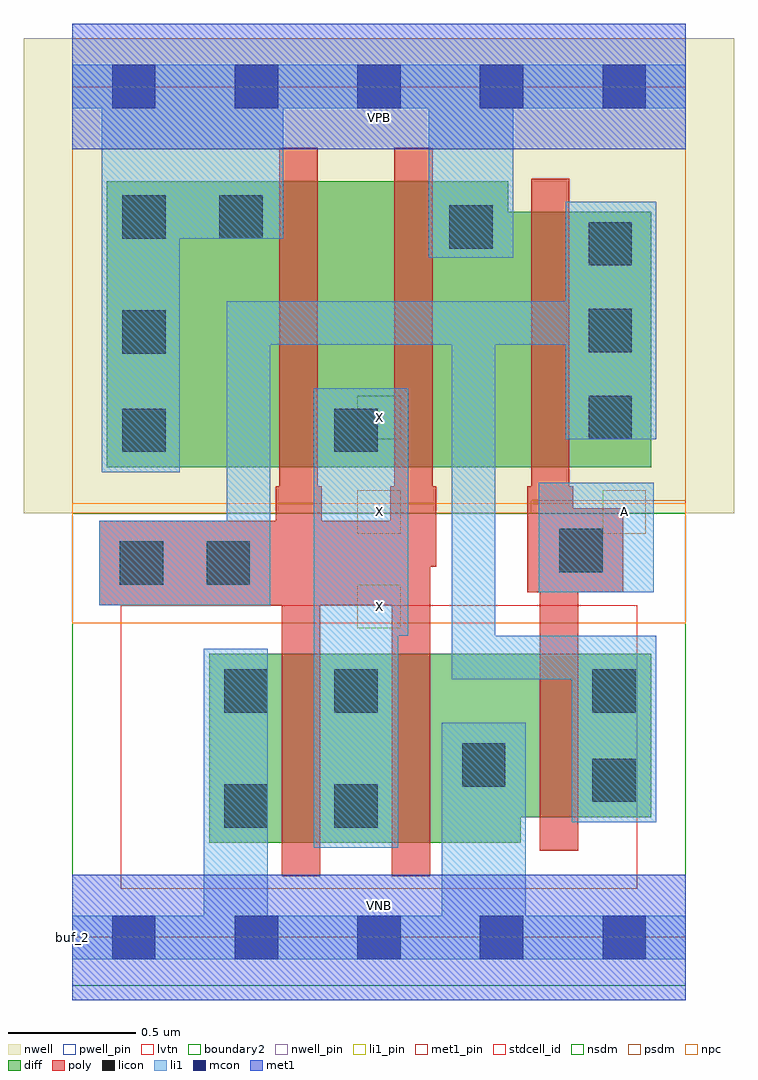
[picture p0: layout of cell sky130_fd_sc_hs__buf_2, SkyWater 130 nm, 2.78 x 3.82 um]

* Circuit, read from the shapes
.subckt sky130_fd_sc_hs__buf_2 A VGND VNB VPB VPWR X
XM1 X n1 VGND VNB sky130_fd_pr__nfet_01v8_lvt w=0.74 l=0.15 m=2
XM2 n1 A VGND VNB sky130_fd_pr__nfet_01v8_lvt w=0.64 l=0.15
XM3 X n1 VPWR VPB sky130_fd_pr__pfet_01v8 w=1.12 l=0.15 m=2
XM4 n1 A VPWR VPB sky130_fd_pr__pfet_01v8 w=1 l=0.15
.ends

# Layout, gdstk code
import gdstk
lib = gdstk.Library(unit=1e-6, precision=1e-09)
def R(c, l, rs):  # rectangles x0, y0, x1, y1
    for r in rs: c.add(gdstk.rectangle(r[:2], r[2:], *l))
def A(c, l, x, y, w, h, nx, ny, dx, dy):  # array of equal rectangles
    R(c, l, [(x+i*dx, y+j*dy, x+i*dx+w, y+j*dy+h) for i in range(nx) for j in range(ny)])
def P(c, l, *ps):  # polygons
    for p in ps: c.add(gdstk.Polygon(p, *l))
nwell_pin = (64, 16)
nwell = (64, 20)
diff = (65, 20)
poly = (66, 20)
licon = (66, 44)
li1_pin = (67, 16)
li1 = (67, 20)
mcon = (67, 44)
met1_pin = (68, 16)
met1 = (68, 20)
stdcell_id = (81, 4)
nsdm = (93, 44)
psdm = (94, 20)
npc = (95, 20)
pwell_pin = (122, 16)
lvtn = (125, 44)
boundary2 = (236, 0)

sky130_fd_sc_hs__buf_2 = lib.new_cell('sky130_fd_sc_hs__buf_2')
R(sky130_fd_sc_hs__buf_2, nwell_pin, [(0,3.085,2.4,3.33)])
R(sky130_fd_sc_hs__buf_2, nwell, [(-0.19,1.66,2.59,3.52)])
P(sky130_fd_sc_hs__buf_2, diff, [(2.265,2.84),(1.705,2.84),(1.705,2.96),(0.135,2.96),(0.135,1.84),(2.265,1.84)],
  [(2.265,1.11),(0.535,1.11),(0.535,0.37),(1.755,0.37),(1.755,0.47),(2.265,0.47)])
P(sky130_fd_sc_hs__buf_2, poly, [(1.425,1.765),(1.41,1.765),(1.41,3.09),(1.26,3.09),(1.26,1.765),(1.245,1.765),(1.245,1.63),(0.975,1.63),(0.975,1.765),(0.96,1.765),(0.96,3.09),(0.81,3.09),(0.81,1.765),(0.795,1.765),(0.795,1.63),(0.105,1.63),(0.105,1.3),(0.82,1.3),(0.82,0.24),(0.97,0.24),(0.97,1.3),(1.25,1.3),(1.25,0.24),(1.4,0.24),(1.4,1.45),(1.425,1.45)],
  [(2.155,1.68),(1.96,1.68),(1.96,1.765),(1.945,1.765),(1.945,2.97),(1.795,2.97),(1.795,1.765),(1.78,1.765),(1.78,1.35),(1.83,1.35),(1.83,0.34),(1.98,0.34),(1.98,1.35),(2.155,1.35)])
A(sky130_fd_sc_hs__buf_2, licon, 2.02, 1.95, 0.17, 0.17, 1, 3, 0, 0.34)
R(sky130_fd_sc_hs__buf_2, licon, [(0.595,0.43,0.765,0.6), (1.025,0.43,1.195,0.6), (2.035,0.53,2.205,0.7), (1.525,0.59,1.695,0.76), (0.595,0.88,0.765,1.05), (1.025,0.88,1.195,1.05), (2.035,0.88,2.205,1.05), (0.185,1.38,0.355,1.55), (0.525,1.38,0.695,1.55), (1.905,1.43,2.075,1.6), (0.195,1.9,0.365,2.07), (1.025,1.9,1.195,2.07), (0.195,2.285,0.365,2.455), (1.475,2.695,1.645,2.865), (0.195,2.735,0.365,2.905), (0.575,2.735,0.745,2.905)])
A(sky130_fd_sc_hs__buf_2, li1_pin, 1.115, 1.21, 0.17, 0.17, 1, 3, 0, 0.37)
R(sky130_fd_sc_hs__buf_2, li1_pin, [(2.075,1.58,2.245,1.75)])
R(sky130_fd_sc_hs__buf_2, li1, [(1.825,1.35,2.275,1.78)])
P(sky130_fd_sc_hs__buf_2, li1, [(0.515,0.085),(0.515,1.13),(0.765,1.13),(0.765,0.085),(1.445,0.085),(1.445,0.84),(1.775,0.84),(1.775,0.085),(2.4,0.085),(2.4,-0.085),(0,-0.085),(0,0.085)],
  [(2.285,1.18),(1.655,1.18),(1.655,2.32),(1.93,2.32),(1.93,1.95),(2.285,1.95),(2.285,2.88),(1.93,2.88),(1.93,2.49),(0.605,2.49),(0.605,1.63),(0.105,1.63),(0.105,1.3),(0.775,1.3),(0.775,2.32),(1.485,2.32),(1.485,1.01),(1.955,1.01),(1.955,0.45),(2.285,0.45)],
  [(0.945,2.15),(1.315,2.15),(1.315,1.18),(1.275,1.18),(1.275,0.35),(0.945,0.35)],
  [(2.4,3.415),(0,3.415),(0,3.245),(0.115,3.245),(0.115,1.82),(0.42,1.82),(0.42,2.735),(0.825,2.735),(0.825,3.245),(1.395,3.245),(1.395,2.66),(1.725,2.66),(1.725,3.245),(2.4,3.245)])
A(sky130_fd_sc_hs__buf_2, mcon, 0.155, -0.085, 0.17, 0.17, 5, 2, 0.48, 3.33)
R(sky130_fd_sc_hs__buf_2, met1_pin, [(0,0,2.4,0.245), (0,3.085,2.4,3.33)])
R(sky130_fd_sc_hs__buf_2, met1, [(0,-0.245,2.4,0.245), (0,3.085,2.4,3.575)])
R(sky130_fd_sc_hs__buf_2, stdcell_id, [(0,0,2.4,3.33)])
R(sky130_fd_sc_hs__buf_2, nsdm, [(0,-0.19,2.4,1.66)])
P(sky130_fd_sc_hs__buf_2, psdm, [(2.4,3.52),(0,3.52),(0,1.66),(1.795,1.66),(1.795,1.71),(2.4,1.71)])
R(sky130_fd_sc_hs__buf_2, npc, [(0,1.23,2.4,1.7)])
R(sky130_fd_sc_hs__buf_2, pwell_pin, [(0,0,2.4,0.245)])
R(sky130_fd_sc_hs__buf_2, lvtn, [(0.19,0.19,2.21,1.3)])
R(sky130_fd_sc_hs__buf_2, boundary2, [(0,0,2.4,3.33)])
sky130_fd_sc_hs__buf_2.add(gdstk.Label('buf_2', (0,0), layer=83, texttype=44))
sky130_fd_sc_hs__buf_2.add(gdstk.Label('VNB', (1.2,0.123), layer=64, texttype=59))
sky130_fd_sc_hs__buf_2.add(gdstk.Label('VPB', (1.2,3.208), layer=64, texttype=5))
sky130_fd_sc_hs__buf_2.add(gdstk.Label('VPWR', (1.2,3.208), layer=68, texttype=5))
sky130_fd_sc_hs__buf_2.add(gdstk.Label('VGND', (1.2,0.123), layer=68, texttype=5))
sky130_fd_sc_hs__buf_2.add(gdstk.Label('A', (2.16,1.665), layer=67, texttype=5))
sky130_fd_sc_hs__buf_2.add(gdstk.Label('X', (1.2,1.295), layer=67, texttype=5))
sky130_fd_sc_hs__buf_2.add(gdstk.Label('X', (1.2,1.665), layer=67, texttype=5))
sky130_fd_sc_hs__buf_2.add(gdstk.Label('X', (1.2,2.035), layer=67, texttype=5))

lib.write_gds('sky130_fd_sc_hs__buf_2.gds')
